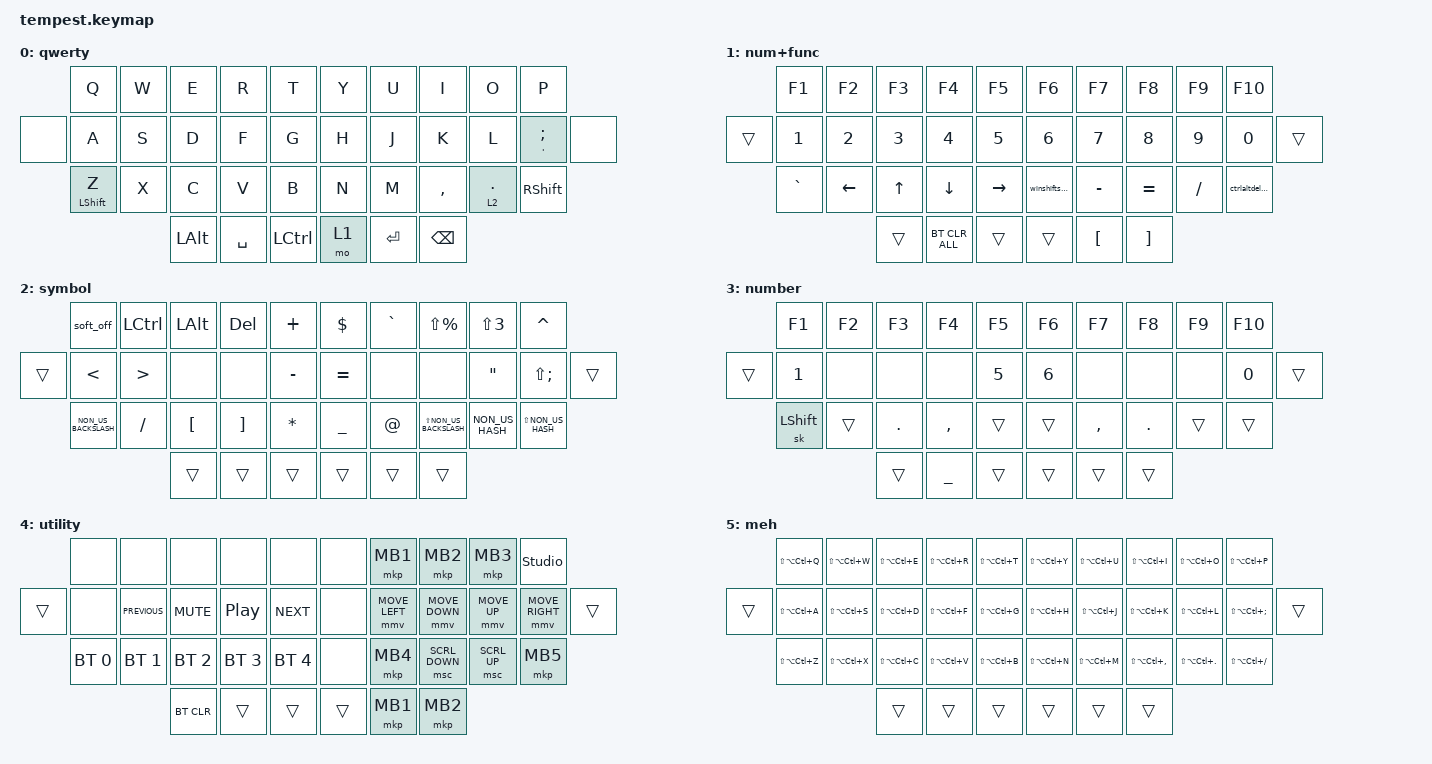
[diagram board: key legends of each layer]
/*
 * Copyright (c) 2020 The ZMK Contributors
 *
 * SPDX-License-Identifier: MIT
 */

#define ZMK_POINTING_DEFAULT_MOVE_VAL 1000  // default: 600
#define ZMK_POINTING_DEFAULT_SCRL_VAL 20    // default: 10

#include <behaviors.dtsi>
#include <dt-bindings/zmk/bt.h>
#include <dt-bindings/zmk/keys.h>
#include <dt-bindings/zmk/pointing.h>

/*       0   1   2   3   4      ||    5   6   7   8   9 */
/* {10}  11  12  13  14  15     ||    16  17  18  19  20  {21} */
/*       22  23  24  25  26     ||    27  28  29  30  31 */
/*                   32 33 34   ||  35 36 37 */

&lt {
};

&mt { flavor = "tap-preferred"; };

/ {
    combos {
        compatible = "zmk,combos";

        /* combos on base layer, left side, for boot shortcuts like BIOS with half the keyboard plugged in */

        bqesc {
            bindings = <&kp ESCAPE>;
            key-positions = <26 0>;
        };

        vctab {
            bindings = <&kp TAB>;
            key-positions = <25 24>;
        };

        begui {
            bindings = <&kp LEFT_GUI>;
            key-positions = <26 2>;
        };

        spaceentershift {
            bindings = <&kp LSHFT>;
            key-positions = <33 36>;
        };

        zgnextsong {
            bindings = <&kp C_NEXT>;
            key-positions = <22 15>;
            layers = <0>;
        };

        zdprevsong {
            bindings = <&kp C_PREV>;
            key-positions = <22 13>;
            layers = <0>;
        };

        zfplypse {
            bindings = <&kp C_PP>;
            key-positions = <22 14>;
            layers = <0>;
        };
    };

    macros {
        winshiftsmacro: winshiftsmacro {
            compatible = "zmk,behavior-macro";
            #binding-cells = <0>;
            bindings = <&kp LS(LG(S))>;
            label = "WINSHIFTSMACRO";
            wait-ms = <50>;
        };

        ctrlaltdelmacro: ctrlaltdel {
            compatible = "zmk,behavior-macro";
            #binding-cells = <0>;
            bindings = <&kp LC(LA(DEL))>;
            label = "CTRLALTDEL";
        };
    };

    behaviors {
        weirdshift: weirdshift {
            compatible = "zmk,behavior-hold-tap";
            label = "WEIRDSHIFT";
            bindings = <&mo>, <&sl>;

            #binding-cells = <2>;
            tapping-term-ms = <200>;
        };
    };

    keymap {
        compatible = "zmk,keymap";

        qwerty {
            // -----------------------------------------------------------------------------------------
            //          ||  Q  |  W  |  E  |  R  |  T  ||                   ||  Y  |  U   |  I  |  O  |  P  || 
            //  [extra] ||  A  |  S  |  D  |  F  |  G  ||                   ||  H  |  J   |  K  |  L  |  ;  ||  [extra] 
            //          ||  Z  |  X  |  C  |  V  |  B  ||                   ||  N  |  M   |  ,  |  .  |  /  || 
            //                               | CTL | SPC | TAB ||   || ENT | BKS | SFT  |

            bindings = <
       &kp Q        &kp W  &kp E         &kp R      &kp T      &kp Y  &kp U      &kp I          &kp O      &kp P
&none  &kp A        &kp S  &kp D         &kp F      &kp G      &kp H  &kp J      &kp K          &kp L      &mt SINGLE_QUOTE SEMICOLON  &none
       &mt LSHFT Z  &kp X  &kp C         &kp V      &kp B      &kp N  &kp M      &kp COMMA      &lt 2 DOT  &kp RSHFT
                           &kp LEFT_ALT  &kp SPACE  &kp LCTRL  &mo 1  &kp ENTER  &kp BACKSPACE
            >;
        };

        num+func {
            bindings = <
        &kp F1        &kp F2        &kp F3        &kp F4          &kp F5     &kp F6           &kp F7            &kp F8             &kp F9     &kp F10
&trans  &kp NUMBER_1  &kp NUMBER_2  &kp NUMBER_3  &kp NUMBER_4    &kp N5     &kp NUMBER_6     &kp N7            &kp N8             &kp N9     &kp N0            &trans
        &kp GRAVE     &kp LEFT      &kp UP_ARROW  &kp DOWN        &kp RIGHT  &winshiftsmacro  &kp MINUS         &kp EQUAL          &kp SLASH  &ctrlaltdelmacro
                                    &trans        &bt BT_CLR_ALL  &trans     &trans           &kp LEFT_BRACKET  &kp RIGHT_BRACKET
            >;
        };

        symbol {
            bindings = <
        &soft_off             &kp LCTRL         &kp LEFT_ALT      &kp DEL            &kp PLUS      &kp DOLLAR      &kp GRAVE    &kp LS(PERCENT)           &kp LS(NUMBER_3)   &kp CARET
&trans  &kp LESS_THAN         &kp GREATER_THAN  &none             &none              &kp MINUS     &kp EQUAL       &none        &none                     &kp DOUBLE_QUOTES  &kp LS(SEMICOLON)    &trans
        &kp NON_US_BACKSLASH  &kp SLASH         &kp LEFT_BRACKET  &kp RIGHT_BRACKET  &kp ASTERISK  &kp UNDERSCORE  &kp AT_SIGN  &kp LS(NON_US_BACKSLASH)  &kp NON_US_HASH    &kp LS(NON_US_HASH)
                                                &trans            &trans             &trans        &trans          &trans       &trans
            >;
        };

        number {
            bindings = <
        &kp F1     &kp F2  &kp F3   &kp F4     &kp F5  &kp F6  &kp F7     &kp F8   &kp F9  &kp F10
&trans  &kp N1     &none   &none    &none      &kp N5  &kp N6  &none      &none    &none   &kp N0   &trans
        &sk LSHFT  &trans  &kp DOT  &kp COMMA  &trans  &trans  &kp COMMA  &kp DOT  &trans  &trans
                           &trans   &kp UNDER  &trans  &trans  &trans     &trans
            >;
        };

        utility {
            bindings = <
        &none         &none           &none         &none             &none         &none   &mkp MB1        &mkp MB2        &mkp MB3      &studio_unlock
&trans  &none         &kp C_PREVIOUS  &kp C_MUTE    &kp C_PLAY_PAUSE  &kp C_NEXT    &none   &mmv MOVE_LEFT  &mmv MOVE_DOWN  &mmv MOVE_UP  &mmv MOVE_RIGHT  &trans
        &bt BT_SEL 0  &bt BT_SEL 1    &bt BT_SEL 2  &bt BT_SEL 3      &bt BT_SEL 4  &none   &mkp MB4        &msc SCRL_DOWN  &msc SCRL_UP  &mkp MB5
                                      &bt BT_CLR    &trans            &trans        &trans  &mkp MB1        &mkp MB2
            >;
        };

        meh {
            bindings = <
        &kp LS(LA(LC(Q)))  &kp LS(LA(LC(W)))  &kp LS(LA(LC(E)))  &kp LS(LA(LC(R)))  &kp LS(LA(LC(T)))  &kp LS(LA(LC(Y)))  &kp LS(LA(LC(U)))  &kp LS(LA(LC(I)))      &kp LS(LA(LC(O)))    &kp LS(LA(LC(P)))
&trans  &kp LS(LA(LC(A)))  &kp LS(LA(LC(S)))  &kp LS(LA(LC(D)))  &kp LS(LA(LC(F)))  &kp LS(LA(LC(G)))  &kp LS(LA(LC(H)))  &kp LS(LA(LC(J)))  &kp LS(LA(LC(K)))      &kp LS(LA(LC(L)))    &kp LS(LA(LC(SEMI)))  &trans
        &kp LS(LA(LC(Z)))  &kp LS(LA(LC(X)))  &kp LS(LA(LC(C)))  &kp LS(LA(LC(V)))  &kp LS(LA(LC(B)))  &kp LS(LA(LC(N)))  &kp LS(LA(LC(M)))  &kp LS(LA(LC(COMMA)))  &kp LS(LA(LC(DOT)))  &kp LS(LA(LC(FSLH)))
                                              &trans             &trans             &trans             &trans             &trans             &trans
            >;
        };
    };

    conditional_layers { compatible = "zmk,conditional-layers"; };
};
